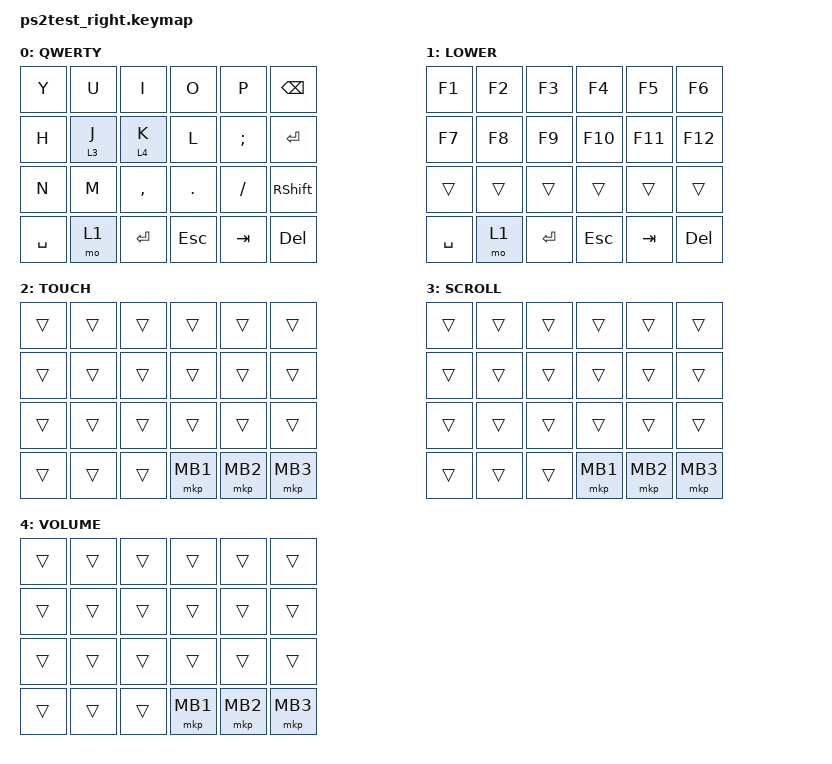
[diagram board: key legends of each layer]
#include <behaviors.dtsi>
#include <dt-bindings/zmk/keys.h>
#include <dt-bindings/zmk/pointing.h>
#include <dt-bindings/zmk/bt.h>

/ {
    keymap {
        compatible = "zmk,keymap";

        default_layer {
            display-name = "QWERTY";
            bindings = <
    &kp Y &kp U   &kp I   &kp O     &kp P     &kp BSPC
    &kp H &lt 3 J &lt 4 K &kp L     &kp SEMI  &kp RET
    &kp N &kp M   &kp COMMA &kp DOT &kp FSLH  &kp RSHFT
    &kp SPACE &mo 1  &kp RET  &kp ESC  &kp TAB   &kp DEL
            >;
        };

        lower_layer {
            display-name = "LOWER";
            bindings = <
    &kp F1 &kp F2  &kp F3  &kp F4  &kp F5  &kp F6
    &kp F7 &kp F8  &kp F9  &kp F10 &kp F11 &kp F12
    &trans &trans &trans &trans &trans &trans
    &kp SPACE &mo 1 &kp RET &kp ESC &kp TAB &kp DEL
            >;
        };

        /* Touch the TP -> this layer for 500 ms idle (tp_temp_layer on the
         * listener); MB1/MB2/MB3 on the right thumb cluster (row 3 right). */
        tp_layer {
            display-name = "TOUCH";
            bindings = <
    &trans &trans &trans &trans &trans &trans
    &trans &trans &trans &trans &trans &trans
    &trans &trans &trans &trans &trans &trans
    &trans &trans &trans &mkp MB1 &mkp MB2 &mkp MB3
            >;
        };

        /* hold J -> trackpoint tilt becomes scroll (scroll_override on the
         * listener). MB1/2/3 stay on the thumb so click-while-scrolling
         * works (mirrors Exp32/Exp51). */
        scroll_layer {
            display-name = "SCROLL";
            bindings = <
    &trans &trans &trans &trans &trans &trans
    &trans &trans &trans &trans &trans &trans
    &trans &trans &trans &trans &trans &trans
    &trans &trans &trans &mkp MB1 &mkp MB2 &mkp MB3
            >;
        };

        /* hold K -> trackpoint tilt becomes volume (keybind_volume on the
         * listener, cursor held put by volume_move_zero). MB1/2/3 stay. */
        volume_layer {
            display-name = "VOLUME";
            bindings = <
    &trans &trans &trans &trans &trans &trans
    &trans &trans &trans &trans &trans &trans
    &trans &trans &trans &trans &trans &trans
    &trans &trans &trans &mkp MB1 &mkp MB2 &mkp MB3
            >;
        };
    };
};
